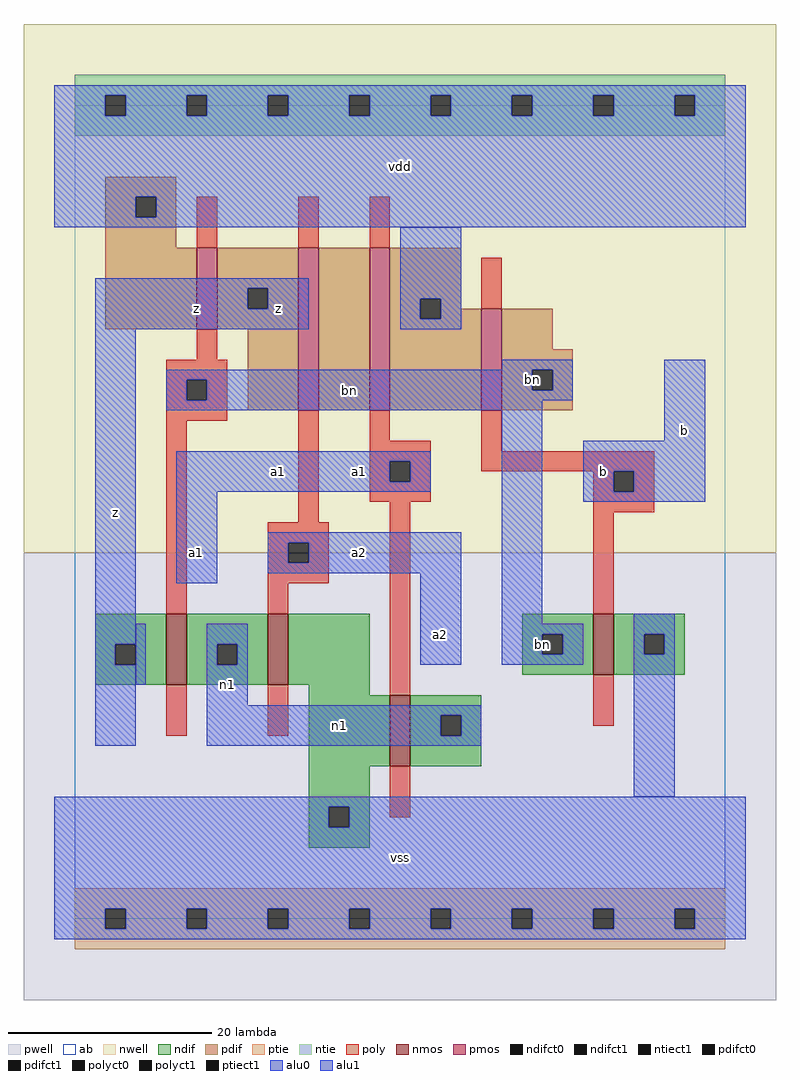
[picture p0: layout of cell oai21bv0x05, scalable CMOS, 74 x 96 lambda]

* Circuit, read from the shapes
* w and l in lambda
.subckt oai21bv0x05 a1 a2 b bn n1 vdd vss z
M1 n1 bn z vss nfet w=7 l=2
M2 vss a2 n1 vss nfet w=7 l=2
M3 n1 a1 vss vss nfet w=7 l=2
M4 vss b bn vss nfet w=6 l=2
M5 z bn vdd vdd pfet w=8 l=2
M6 n2 a2 z vdd pfet w=16 l=2
M7 vdd a1 n2 vdd pfet w=16 l=2
M8 bn b vdd vdd pfet w=10 l=2
.ends

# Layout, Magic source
magic
tech scmos
<< ab >>
rect 0 0 64 80
<< nwell >>
rect -5 36 69 88
<< pwell >>
rect -5 -8 69 36
<< poly >>
rect 12 66 14 71
rect 22 66 24 71
rect 29 66 31 71
rect 12 55 14 58
rect 9 53 15 55
rect 9 51 11 53
rect 13 51 15 53
rect 9 49 15 51
rect 40 60 42 65
rect 9 30 11 49
rect 22 39 24 50
rect 29 47 31 50
rect 29 45 35 47
rect 29 43 31 45
rect 33 43 35 45
rect 40 46 42 50
rect 40 44 57 46
rect 29 41 35 43
rect 51 42 53 44
rect 55 42 57 44
rect 19 37 25 39
rect 19 35 21 37
rect 23 35 25 37
rect 19 33 25 35
rect 19 30 21 33
rect 9 18 11 23
rect 19 18 21 23
rect 31 22 33 41
rect 51 40 57 42
rect 51 30 53 40
rect 51 19 53 24
rect 31 10 33 15
<< ndif >>
rect 2 27 9 30
rect 2 25 4 27
rect 6 25 9 27
rect 2 23 9 25
rect 11 27 19 30
rect 11 25 14 27
rect 16 25 19 27
rect 11 23 19 25
rect 21 23 29 30
rect 23 22 29 23
rect 44 28 51 30
rect 44 26 46 28
rect 48 26 51 28
rect 44 24 51 26
rect 53 28 60 30
rect 53 26 56 28
rect 58 26 60 28
rect 53 24 60 26
rect 23 15 31 22
rect 33 20 40 22
rect 33 18 36 20
rect 38 18 40 20
rect 33 15 40 18
rect 23 11 29 15
rect 23 9 25 11
rect 27 9 29 11
rect 23 7 29 9
<< pdif >>
rect 3 71 10 73
rect 3 69 6 71
rect 8 69 10 71
rect 3 66 10 69
rect 3 58 12 66
rect 14 62 22 66
rect 14 60 17 62
rect 19 60 22 62
rect 14 58 22 60
rect 17 50 22 58
rect 24 50 29 66
rect 31 61 38 66
rect 31 59 34 61
rect 36 60 38 61
rect 36 59 40 60
rect 31 50 40 59
rect 42 56 47 60
rect 42 54 49 56
rect 42 52 45 54
rect 47 52 49 54
rect 42 50 49 52
<< alu1 >>
rect -2 81 66 82
rect -2 79 3 81
rect 5 79 11 81
rect 13 79 19 81
rect 21 79 27 81
rect 29 79 35 81
rect 37 79 43 81
rect 45 79 51 81
rect 53 79 59 81
rect 61 79 66 81
rect -2 71 66 79
rect -2 69 6 71
rect 8 69 66 71
rect -2 68 66 69
rect 2 62 23 63
rect 2 60 17 62
rect 19 60 23 62
rect 2 58 23 60
rect 2 27 6 58
rect 10 45 35 46
rect 10 43 31 45
rect 33 43 35 45
rect 10 42 35 43
rect 10 33 14 42
rect 19 37 38 38
rect 19 35 21 37
rect 23 35 38 37
rect 19 34 38 35
rect 2 25 4 27
rect 2 17 6 25
rect 34 25 38 34
rect 58 47 62 55
rect 50 44 62 47
rect 50 42 53 44
rect 55 42 62 44
rect 50 41 62 42
rect -2 11 66 12
rect -2 9 25 11
rect 27 9 66 11
rect -2 1 66 9
rect -2 -1 3 1
rect 5 -1 11 1
rect 13 -1 19 1
rect 21 -1 27 1
rect 29 -1 35 1
rect 37 -1 43 1
rect 45 -1 51 1
rect 53 -1 59 1
rect 61 -1 66 1
rect -2 -2 66 -1
<< ptie >>
rect 0 1 64 3
rect 0 -1 3 1
rect 5 -1 11 1
rect 13 -1 19 1
rect 21 -1 27 1
rect 29 -1 35 1
rect 37 -1 43 1
rect 45 -1 51 1
rect 53 -1 59 1
rect 61 -1 64 1
rect 0 -3 64 -1
<< ntie >>
rect 0 81 64 83
rect 0 79 3 81
rect 5 79 11 81
rect 13 79 19 81
rect 21 79 27 81
rect 29 79 35 81
rect 37 79 43 81
rect 45 79 51 81
rect 53 79 59 81
rect 61 79 64 81
rect 0 77 64 79
<< nmos >>
rect 9 23 11 30
rect 19 23 21 30
rect 51 24 53 30
rect 31 15 33 22
<< pmos >>
rect 12 58 14 66
rect 22 50 24 66
rect 29 50 31 66
rect 40 50 42 60
<< polyct0 >>
rect 11 51 13 53
<< polyct1 >>
rect 31 43 33 45
rect 53 42 55 44
rect 21 35 23 37
<< ndifct0 >>
rect 14 25 16 27
rect 46 26 48 28
rect 56 26 58 28
rect 36 18 38 20
<< ndifct1 >>
rect 4 25 6 27
rect 25 9 27 11
<< ntiect1 >>
rect 3 79 5 81
rect 11 79 13 81
rect 19 79 21 81
rect 27 79 29 81
rect 35 79 37 81
rect 43 79 45 81
rect 51 79 53 81
rect 59 79 61 81
<< ptiect1 >>
rect 3 -1 5 1
rect 11 -1 13 1
rect 19 -1 21 1
rect 27 -1 29 1
rect 35 -1 37 1
rect 43 -1 45 1
rect 51 -1 53 1
rect 59 -1 61 1
<< pdifct0 >>
rect 34 59 36 61
rect 45 52 47 54
<< pdifct1 >>
rect 6 69 8 71
rect 17 60 19 62
<< alu0 >>
rect 32 61 38 68
rect 32 59 34 61
rect 36 59 38 61
rect 32 58 38 59
rect 42 54 49 55
rect 9 53 45 54
rect 9 51 11 53
rect 13 52 45 53
rect 47 52 49 54
rect 13 51 49 52
rect 9 50 46 51
rect 6 23 7 29
rect 13 27 17 29
rect 13 25 14 27
rect 16 25 17 27
rect 42 29 46 50
rect 42 28 50 29
rect 42 26 46 28
rect 48 26 50 28
rect 42 25 50 26
rect 55 28 59 30
rect 55 26 56 28
rect 58 26 59 28
rect 13 21 17 25
rect 13 20 40 21
rect 13 18 36 20
rect 38 18 40 20
rect 13 17 40 18
rect 55 12 59 26
<< labels >>
rlabel alu0 15 23 15 23 6 n1
rlabel alu0 26 19 26 19 6 n1
rlabel alu0 27 52 27 52 6 bn
rlabel alu0 46 27 46 27 6 bn
rlabel alu0 45 53 45 53 6 bn
rlabel alu1 12 36 12 36 6 a1
rlabel alu1 4 40 4 40 6 z
rlabel alu1 12 60 12 60 6 z
rlabel alu1 28 36 28 36 6 a2
rlabel alu1 28 44 28 44 6 a1
rlabel alu1 20 44 20 44 6 a1
rlabel alu1 20 60 20 60 6 z
rlabel alu1 32 6 32 6 6 vss
rlabel alu1 36 28 36 28 6 a2
rlabel alu1 32 74 32 74 6 vdd
rlabel alu1 52 44 52 44 6 b
rlabel alu1 60 48 60 48 6 b
<< end >>
